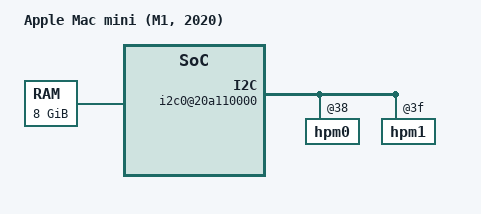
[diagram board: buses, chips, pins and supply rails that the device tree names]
// SPDX-License-Identifier: GPL-2.0+ OR MIT
/*
 * Apple Mac mini (M1, 2020)
 *
 * target-type: J274
 *
 * Copyright The Asahi Linux Contributors
 */

/dts-v1/;

#include <dt-bindings/leds/common.h>

#include "t8103.dtsi"

/ {
	compatible = "apple,j274", "apple,t8103", "apple,arm-platform";
	model = "Apple Mac mini (M1, 2020)";

	chosen {
		#address-cells = <2>;
		#size-cells = <2>;
		ranges;
	};


	soc {
		i2c0@20a110000 {
			hpm0@38 {
			 	connector {
				 	data-role = "host";
				};
			};
			hpm1@3f {
			 	connector {
				 	data-role = "host";
				};
			};
		};

		usb0@382280000 {
			dwc3@382280000 {
				dr_mode = "host";
			};
		};

		usb1@502280000 {
			dwc3@502280000 {
				dr_mode = "host";
			};
		};
	};

	fiq: interrupt-controller {
	     	use-for-ipi;
	};

	memory@800000000 {
		device_type = "memory";
		reg = <0x8 0 0x2 0>; /* To be filled by loader */
	};
};
